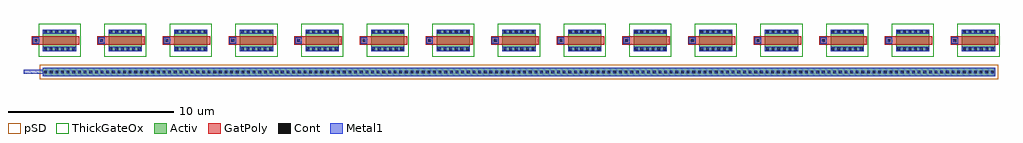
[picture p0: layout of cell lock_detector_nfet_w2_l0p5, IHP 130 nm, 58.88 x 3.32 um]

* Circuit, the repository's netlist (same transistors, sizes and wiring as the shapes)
* extracted by klt extract --deck sg13cmos5l

* cell lock_detector_nfet_w2_l0p5
* pin vsubs
.SUBCKT lock_detector_nfet_w2_l0p5 vsubs
* device instance $1 r0 *1 2.3,3.11 nfet
X$1 \$32 \$2 \$3 vsubs sg13_hv_nmos L=0.5U W=2U AS=0.8P AD=0.8P PS=4.8U PD=4.8U
* device instance $2 r0 *1 6.26,3.11 nfet
X$2 \$33 \$4 \$5 vsubs sg13_hv_nmos L=0.5U W=2U AS=0.8P AD=0.8P PS=4.8U PD=4.8U
* device instance $3 r0 *1 10.22,3.11 nfet
X$3 \$34 \$6 \$7 vsubs sg13_hv_nmos L=0.5U W=2U AS=0.8P AD=0.8P PS=4.8U PD=4.8U
* device instance $4 r0 *1 14.18,3.11 nfet
X$4 \$35 \$8 \$9 vsubs sg13_hv_nmos L=0.5U W=2U AS=0.8P AD=0.8P PS=4.8U PD=4.8U
* device instance $5 r0 *1 18.14,3.11 nfet
X$5 \$36 \$10 \$11 vsubs sg13_hv_nmos L=0.5U W=2U AS=0.8P AD=0.8P PS=4.8U
+ PD=4.8U
* device instance $6 r0 *1 22.1,3.11 nfet
X$6 \$37 \$12 \$13 vsubs sg13_hv_nmos L=0.5U W=2U AS=0.8P AD=0.8P PS=4.8U
+ PD=4.8U
* device instance $7 r0 *1 26.06,3.11 nfet
X$7 \$38 \$14 \$15 vsubs sg13_hv_nmos L=0.5U W=2U AS=0.8P AD=0.8P PS=4.8U
+ PD=4.8U
* device instance $8 r0 *1 30.02,3.11 nfet
X$8 \$39 \$16 \$17 vsubs sg13_hv_nmos L=0.5U W=2U AS=0.8P AD=0.8P PS=4.8U
+ PD=4.8U
* device instance $9 r0 *1 33.98,3.11 nfet
X$9 \$40 \$18 \$19 vsubs sg13_hv_nmos L=0.5U W=2U AS=0.8P AD=0.8P PS=4.8U
+ PD=4.8U
* device instance $10 r0 *1 37.94,3.11 nfet
X$10 \$41 \$20 \$21 vsubs sg13_hv_nmos L=0.5U W=2U AS=0.8P AD=0.8P PS=4.8U
+ PD=4.8U
* device instance $11 r0 *1 41.9,3.11 nfet
X$11 \$42 \$22 \$23 vsubs sg13_hv_nmos L=0.5U W=2U AS=0.8P AD=0.8P PS=4.8U
+ PD=4.8U
* device instance $12 r0 *1 45.86,3.11 nfet
X$12 \$43 \$24 \$25 vsubs sg13_hv_nmos L=0.5U W=2U AS=0.8P AD=0.8P PS=4.8U
+ PD=4.8U
* device instance $13 r0 *1 49.82,3.11 nfet
X$13 \$44 \$26 \$27 vsubs sg13_hv_nmos L=0.5U W=2U AS=0.8P AD=0.8P PS=4.8U
+ PD=4.8U
* device instance $14 r0 *1 53.78,3.11 nfet
X$14 \$45 \$28 \$29 vsubs sg13_hv_nmos L=0.5U W=2U AS=0.8P AD=0.8P PS=4.8U
+ PD=4.8U
* device instance $15 r0 *1 57.74,3.11 nfet
X$15 \$46 \$30 \$31 vsubs sg13_hv_nmos L=0.5U W=2U AS=0.8P AD=0.8P PS=4.8U
+ PD=4.8U
.ENDS lock_detector_nfet_w2_l0p5

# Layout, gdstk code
import gdstk
lib = gdstk.Library(unit=1e-6, precision=1e-09)
def R(c, l, rs):  # rectangles x0, y0, x1, y1
    for r in rs: c.add(gdstk.rectangle(r[:2], r[2:], *l))
def A(c, l, x, y, w, h, nx, ny, dx, dy):  # array of equal rectangles
    R(c, l, [(x+i*dx, y+j*dy, x+i*dx+w, y+j*dy+h) for i in range(nx) for j in range(ny)])
Activ = (1, 0)
GatPoly = (5, 0)
Cont = (6, 0)
Metal1 = (8, 0)
pSD = (14, 0)
ThickGateOx = (44, 0)

lock_detector_nfet_w2_l0 = lib.new_cell('lock_detector_nfet_w2_l0p5')
A(lock_detector_nfet_w2_l0, Activ, 1.3, 2.46, 2, 1.3, 15, 1, 3.96, 0)
R(lock_detector_nfet_w2_l0, Activ, [(1.3,0.96,58.74,1.46)])
A(lock_detector_nfet_w2_l0, GatPoly, 0.62, 2.86, 0.5, 0.5, 15, 1, 3.96, 0)
A(lock_detector_nfet_w2_l0, GatPoly, 1.12, 2.86, 2.36, 0.5, 15, 1, 3.96, 0)
A(lock_detector_nfet_w2_l0, Cont, 1.38, 1.13, 0.16, 0.16, 169, 1, 0.34, 0)
A(lock_detector_nfet_w2_l0, Cont, 1.37, 2.53, 0.16, 0.16, 6, 2, 0.34, 1)
A(lock_detector_nfet_w2_l0, Cont, 5.33, 2.53, 0.16, 0.16, 6, 2, 0.34, 1)
A(lock_detector_nfet_w2_l0, Cont, 9.29, 2.53, 0.16, 0.16, 6, 2, 0.34, 1)
A(lock_detector_nfet_w2_l0, Cont, 13.25, 2.53, 0.16, 0.16, 6, 2, 0.34, 1)
A(lock_detector_nfet_w2_l0, Cont, 17.21, 2.53, 0.16, 0.16, 6, 2, 0.34, 1)
A(lock_detector_nfet_w2_l0, Cont, 21.17, 2.53, 0.16, 0.16, 6, 2, 0.34, 1)
A(lock_detector_nfet_w2_l0, Cont, 25.13, 2.53, 0.16, 0.16, 6, 2, 0.34, 1)
A(lock_detector_nfet_w2_l0, Cont, 29.09, 2.53, 0.16, 0.16, 6, 2, 0.34, 1)
A(lock_detector_nfet_w2_l0, Cont, 33.05, 2.53, 0.16, 0.16, 6, 2, 0.34, 1)
A(lock_detector_nfet_w2_l0, Cont, 37.01, 2.53, 0.16, 0.16, 6, 2, 0.34, 1)
A(lock_detector_nfet_w2_l0, Cont, 40.97, 2.53, 0.16, 0.16, 6, 2, 0.34, 1)
A(lock_detector_nfet_w2_l0, Cont, 44.93, 2.53, 0.16, 0.16, 6, 2, 0.34, 1)
A(lock_detector_nfet_w2_l0, Cont, 48.89, 2.53, 0.16, 0.16, 6, 2, 0.34, 1)
A(lock_detector_nfet_w2_l0, Cont, 52.85, 2.53, 0.16, 0.16, 6, 2, 0.34, 1)
A(lock_detector_nfet_w2_l0, Cont, 56.81, 2.53, 0.16, 0.16, 6, 2, 0.34, 1)
A(lock_detector_nfet_w2_l0, Cont, 0.79, 3.03, 0.16, 0.16, 15, 1, 3.96, 0)
A(lock_detector_nfet_w2_l0, Metal1, 1.3, 2.46, 2, 0.26, 15, 2, 3.96, 1.04)
A(lock_detector_nfet_w2_l0, Metal1, 0.67, 2.91, 0.4, 0.4, 15, 1, 3.96, 0)
R(lock_detector_nfet_w2_l0, Metal1, [(1.3,0.96,58.74,1.46), (0.125,1.085,1.3,1.335)])
R(lock_detector_nfet_w2_l0, pSD, [(1.12,0.78,58.92,1.64)])
A(lock_detector_nfet_w2_l0, ThickGateOx, 1.03, 2.12, 2.54, 1.98, 15, 1, 3.96, 0)

lib.write_gds('lock_detector_nfet_w2_l0p5.gds')
